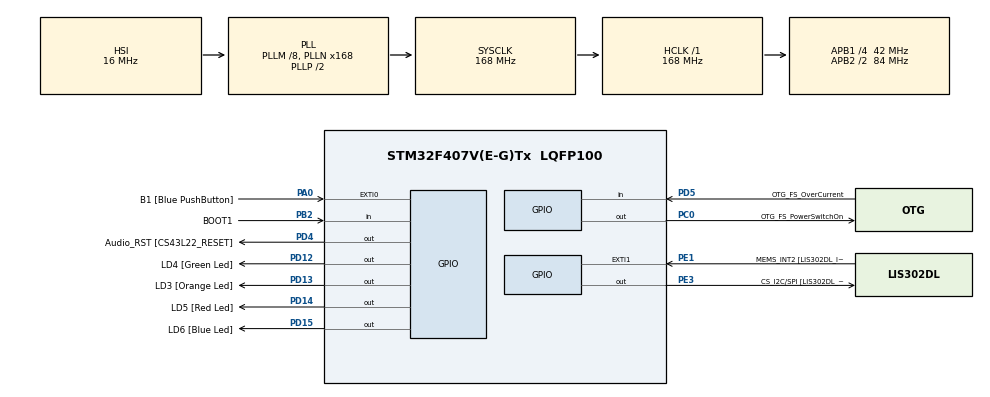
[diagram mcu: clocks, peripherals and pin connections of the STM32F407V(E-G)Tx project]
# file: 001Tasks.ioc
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Mcu.Family=STM32F4
Mcu.Name=STM32F407V(E-G)Tx
Mcu.Package=LQFP100
NVIC.PriorityGroup=NVIC_PRIORITYGROUP_4
NVIC.TIM6_DAC_IRQn=true\:0\:0\:false\:false\:true\:false\:true\:true
NVIC.TimeBase=TIM6_DAC_IRQn
NVIC.TimeBaseIP=TIM6
PA0-WKUP.GPIO_Label=B1 [Blue PushButton]
PA0-WKUP.Signal=GPXTI0
PA10.GPIO_Label=OTG_FS_ID
PA10.GPIO_Mode=GPIO_MODE_AF_PP
PA10.GPIO_PuPd=GPIO_NOPULL
PA10.GPIO_Speed=GPIO_SPEED_FREQ_LOW
PA10.Signal=USB_OTG_FS_ID
PA11.GPIO_Label=OTG_FS_DM
PA11.GPIO_Mode=GPIO_MODE_AF_PP
PA11.GPIO_PuPd=GPIO_NOPULL
PA11.GPIO_Speed=GPIO_SPEED_FREQ_LOW
PA11.Signal=USB_OTG_FS_DM
PA12.GPIO_Label=OTG_FS_DP
PA12.GPIO_Mode=GPIO_MODE_AF_PP
PA12.GPIO_PuPd=GPIO_NOPULL
PA12.GPIO_Speed=GPIO_SPEED_FREQ_LOW
PA12.Signal=USB_OTG_FS_DP
PA13.GPIO_Label=SWDIO
PA13.Signal=SYS_JTMS-SWDIO
PA14.GPIO_Label=SWCLK
PA14.Signal=SYS_JTCK-SWCLK
PA4.GPIO_Label=I2S3_WS [CS43L22_LRCK]
PA4.GPIO_Mode=GPIO_MODE_AF_PP
PA4.GPIO_PuPd=GPIO_NOPULL
PA4.GPIO_Speed=GPIO_SPEED_FREQ_LOW
PA4.Signal=I2S3_WS
PA5.GPIO_Label=SPI1_SCK [LIS302DL_SCL/SPC]
PA5.GPIO_Mode=GPIO_MODE_AF_PP
PA5.GPIO_PuPd=GPIO_NOPULL
PA5.GPIO_Speed=GPIO_SPEED_FREQ_LOW
PA5.Signal=SPI1_SCK
PA6.GPIO_Label=SPI1_MISO [LIS302DL_SDO]
PA6.GPIO_Mode=GPIO_MODE_AF_PP
PA6.GPIO_PuPd=GPIO_NOPULL
PA6.GPIO_Speed=GPIO_SPEED_FREQ_LOW
PA6.Signal=SPI1_MISO
PA7.GPIO_Label=SPI1_MOSI [LIS302DL_SDA/SDI/SDO]
PA7.GPIO_Mode=GPIO_MODE_AF_PP
PA7.GPIO_PuPd=GPIO_NOPULL
PA7.GPIO_Speed=GPIO_SPEED_FREQ_LOW
PA7.Signal=SPI1_MOSI
PA9.GPIO_Label=VBUS_FS
PA9.GPIO_Mode=GPIO_MODE_INPUT
PA9.GPIO_PuPd=GPIO_NOPULL
PA9.Signal=USB_OTG_FS_VBUS
PB10.GPIO_Label=CLK_IN [MP45DT02_CLK]
PB10.GPIO_Mode=GPIO_MODE_AF_PP
PB10.GPIO_PuPd=GPIO_NOPULL
PB10.GPIO_Speed=GPIO_SPEED_FREQ_LOW
PB10.Signal=I2S2_CK
PB2.GPIO_Label=BOOT1
PB2.GPIO_Mode=GPIO_MODE_INPUT
PB2.GPIO_PuPd=GPIO_NOPULL
PB2.Signal=GPIO_Input
PB3.GPIO_Label=SWO
PB3.Signal=SYS_JTDO-SWO
PB6.GPIO_Label=Audio_SCL [CS43L22_SCL]
PB6.GPIO_Mode=GPIO_MODE_AF_OD
PB6.GPIO_PuPd=GPIO_NOPULL
PB6.GPIO_Speed=GPIO_SPEED_FREQ_LOW
PB6.Signal=I2C1_SCL
PB9.GPIO_Label=Audio_SDA [CS43L22_SDA]
PB9.GPIO_Mode=GPIO_MODE_AF_OD
PB9.GPIO_PuPd=GPIO_NOPULL
PB9.GPIO_Speed=GPIO_SPEED_FREQ_LOW
PB9.Signal=I2C1_SDA
PC0.GPIO_Label=OTG_FS_PowerSwitchOn
PC0.GPIO_PuPd=GPIO_NOPULL
PC0.GPIO_Speed=GPIO_SPEED_FREQ_LOW
PC0.PinState=GPIO_PIN_SET
PC0.Signal=GPIO_Output
PC10.GPIO_Label=I2S3_SCK [CS43L22_SCLK]
PC10.GPIO_Mode=GPIO_MODE_AF_PP
PC10.GPIO_PuPd=GPIO_NOPULL
PC10.GPIO_Speed=GPIO_SPEED_FREQ_LOW
PC10.Signal=I2S3_CK
PC12.GPIO_Label=I2S3_SD [CS43L22_SDIN]
PC12.GPIO_Mode=GPIO_MODE_AF_PP
PC12.GPIO_PuPd=GPIO_NOPULL
PC12.GPIO_Speed=GPIO_SPEED_FREQ_LOW
PC12.Signal=I2S3_SD
PC14-OSC32_IN.GPIO_Label=PC14-OSC32_IN
PC14-OSC32_IN.Signal=RCC_OSC32_IN
PC15-OSC32_OUT.GPIO_Label=PC15-OSC32_OUT
PC15-OSC32_OUT.Signal=RCC_OSC32_OUT
PC3.GPIO_Label=PDM_OUT [MP45DT02_DOUT]
PC3.GPIO_Mode=GPIO_MODE_AF_PP
PC3.GPIO_PuPd=GPIO_NOPULL
PC3.GPIO_Speed=GPIO_SPEED_FREQ_LOW
PC3.Signal=I2S2_SD
PC7.GPIO_Label=I2S3_MCK [CS43L22_MCLK]
PC7.GPIO_Mode=GPIO_MODE_AF_PP
PC7.GPIO_PuPd=GPIO_NOPULL
PC7.GPIO_Speed=GPIO_SPEED_FREQ_LOW
PC7.Signal=I2S3_MCK
PD12.GPIO_Label=LD4 [Green Led]
PD12.GPIO_PuPd=GPIO_NOPULL
PD12.GPIO_Speed=GPIO_SPEED_FREQ_LOW
PD12.Signal=GPIO_Output
PD13.GPIO_Label=LD3 [Orange Led]
PD13.GPIO_PuPd=GPIO_NOPULL
PD13.GPIO_Speed=GPIO_SPEED_FREQ_LOW
PD13.Signal=GPIO_Output
PD14.GPIO_Label=LD5 [Red Led]
PD14.GPIO_PuPd=GPIO_NOPULL
PD14.GPIO_Speed=GPIO_SPEED_FREQ_LOW
PD14.Signal=GPIO_Output
PD15.GPIO_Label=LD6 [Blue Led]
PD15.GPIO_PuPd=GPIO_NOPULL
PD15.GPIO_Speed=GPIO_SPEED_FREQ_LOW
PD15.Signal=GPIO_Output
PD4.GPIO_Label=Audio_RST [CS43L22_RESET]
PD4.GPIO_PuPd=GPIO_NOPULL
PD4.GPIO_Speed=GPIO_SPEED_FREQ_LOW
PD4.Signal=GPIO_Output
PD5.GPIO_Label=OTG_FS_OverCurrent
PD5.GPIO_Mode=GPIO_MODE_INPUT
PD5.GPIO_PuPd=GPIO_NOPULL
PD5.Signal=GPIO_Input
PE1.GPIO_Label=MEMS_INT2 [LIS302DL_INT2]
PE1.GPIO_ModeDefaultEXTI=GPIO_MODE_EVT_RISING
PE1.GPIO_PuPd=GPIO_NOPULL
PE1.Signal=GPXTI1
PE3.GPIO_Label=CS_I2C/SPI [LIS302DL_CS_I2C/SPI]
PE3.GPIO_PuPd=GPIO_NOPULL
PE3.GPIO_Speed=GPIO_SPEED_FREQ_LOW
PE3.Signal=GPIO_Output
PH0-OSC_IN.GPIO_Label=PH0-OSC_IN
PH0-OSC_IN.Signal=RCC_OSC_IN
PH1-OSC_OUT.GPIO_Label=PH1-OSC_OUT
PH1-OSC_OUT.Signal=RCC_OSC_OUT
ProjectManager.HeapSize=0x200
ProjectManager.StackSize=0x400
ProjectManager.TargetToolchain=STM32CubeIDE
RCC.48MHZClocksFreq_Value=48000000
RCC.AHBFreq_Value=168000000
RCC.APB1CLKDivider=RCC_HCLK_DIV4
RCC.APB1Freq_Value=42000000
RCC.APB1TimFreq_Value=84000000
RCC.APB2CLKDivider=RCC_HCLK_DIV2
RCC.APB2Freq_Value=84000000
RCC.APB2TimFreq_Value=168000000
RCC.CortexFreq_Value=168000000
RCC.HCLKFreq_Value=168000000
RCC.HSE_VALUE=8000000
RCC.HSI_VALUE=16000000
RCC.LSE_VALUE=32768
RCC.PLLM=8
RCC.PLLN=168
RCC.PLLQ=7
RCC.SYSCLKFreq_VALUE=168000000
RCC.SYSCLKSource=RCC_SYSCLKSOURCE_PLLCLK
RCC.VCOOutputFreq_Value=336000000
VP_SYS_VS_tim6.Mode=TIM6
board=STM32F407G-DISC1

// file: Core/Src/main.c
/* USER CODE BEGIN Header */
/**
  ******************************************************************************
  * @file           : main.c
  * @brief          : Main program body
  ******************************************************************************
  * @attention
  *
  * Copyright (c) 2023 STMicroelectronics.
  * All rights reserved.
  *
  * This software is licensed under terms that can be found in the LICENSE file
  * in the root directory of this software component.
  * If no LICENSE file comes with this software, it is provided AS-IS.
  *
  ******************************************************************************
  */
/* USER CODE END Header */
#include "main.h"

/* USER CODE BEGIN Includes */
#include <stdio.h>
#include "FreeRTOS.h"
#include "task.h"
/* USER CODE END Includes */

/* USER CODE BEGIN PV */

#define DWT_CTRL	(*(volatile uint32_t *)0xE0001000)

/* USER CODE END PV */

void SystemClock_Config(void);
static void MX_GPIO_Init(void);
/* USER CODE BEGIN PFP */
static void task1_handler(void *parameters);
static void task2_handler(void *parameters);
/* USER CODE END PFP */

int main(void)
{
  /* USER CODE BEGIN 1 */
	TaskHandle_t task1_handle;
	TaskHandle_t task2_handle;
	BaseType_t status;
  /* USER CODE END 1 */

  /* MCU Configuration--------------------------------------------------------*/

  /* Reset of all peripherals, Initializes the Flash interface and the Systick. */
  HAL_Init();

  /* Configure the system clock */
  SystemClock_Config();

  /* Initialize all configured peripherals */
  MX_GPIO_Init();
  /* USER CODE BEGIN 2 */

  /* Enable Cycle counter */
  DWT_CTRL |= (1 << 0);

  SEGGER_UART_init(500000);

  SEGGER_SYSVIEW_Conf();

  status = xTaskCreate(task1_handler, "Task-1", 200, "Hello world from Task-1", 2, task1_handle);
  configASSERT(status == pdPASS);

  status = xTaskCreate(task2_handler, "Task-2", 200, "Hello world from Task-2", 2, task2_handle);
  configASSERT(status == pdPASS);

  /*Start the FreeRTOS scheduler*/
  vTaskStartScheduler();

  // If the control comes here, then the launch of the scheduler has failed due to insufficient memory in heap

  /* USER CODE END 2 */

  /* Infinite loop */
  while (1)
  {

  }
}

void SystemClock_Config(void)
{
  RCC_OscInitTypeDef RCC_OscInitStruct = {0};
  RCC_ClkInitTypeDef RCC_ClkInitStruct = {0};

  /** Configure the main internal regulator output voltage
  */
  __HAL_RCC_PWR_CLK_ENABLE();
  __HAL_PWR_VOLTAGESCALING_CONFIG(PWR_REGULATOR_VOLTAGE_SCALE1);

  /** Initializes the RCC Oscillators according to the specified parameters
  * in the RCC_OscInitTypeDef structure.
  */
  RCC_OscInitStruct.OscillatorType = RCC_OSCILLATORTYPE_HSI;
  RCC_OscInitStruct.HSIState = RCC_HSI_ON;
  RCC_OscInitStruct.HSICalibrationValue = RCC_HSICALIBRATION_DEFAULT;
  RCC_OscInitStruct.PLL.PLLState = RCC_PLL_ON;
  RCC_OscInitStruct.PLL.PLLSource = RCC_PLLSOURCE_HSI;
  RCC_OscInitStruct.PLL.PLLM = 8;
  RCC_OscInitStruct.PLL.PLLN = 168;
  RCC_OscInitStruct.PLL.PLLP = RCC_PLLP_DIV2;
  RCC_OscInitStruct.PLL.PLLQ = 7;
  if (HAL_RCC_OscConfig(&RCC_OscInitStruct) != HAL_OK)
  {
    Error_Handler();
  }

  /** Initializes the CPU, AHB and APB buses clocks
  */
  RCC_ClkInitStruct.ClockType = RCC_CLOCKTYPE_HCLK|RCC_CLOCKTYPE_SYSCLK
                              |RCC_CLOCKTYPE_PCLK1|RCC_CLOCKTYPE_PCLK2;
  RCC_ClkInitStruct.SYSCLKSource = RCC_SYSCLKSOURCE_PLLCLK;
  RCC_ClkInitStruct.AHBCLKDivider = RCC_SYSCLK_DIV1;
  RCC_ClkInitStruct.APB1CLKDivider = RCC_HCLK_DIV4;
  RCC_ClkInitStruct.APB2CLKDivider = RCC_HCLK_DIV2;

  if (HAL_RCC_ClockConfig(&RCC_ClkInitStruct, FLASH_LATENCY_5) != HAL_OK)
  {
    Error_Handler();
  }
}

static void MX_GPIO_Init(void)
{
  GPIO_InitTypeDef GPIO_InitStruct = {0};

  /* GPIO Ports Clock Enable */
  __HAL_RCC_GPIOE_CLK_ENABLE();
  __HAL_RCC_GPIOC_CLK_ENABLE();
  __HAL_RCC_GPIOH_CLK_ENABLE();
  __HAL_RCC_GPIOA_CLK_ENABLE();
  __HAL_RCC_GPIOB_CLK_ENABLE();
  __HAL_RCC_GPIOD_CLK_ENABLE();

  /*Configure GPIO pin Output Level */
  HAL_GPIO_WritePin(CS_I2C_SPI_GPIO_Port, CS_I2C_SPI_Pin, GPIO_PIN_RESET);

  /*Configure GPIO pin Output Level */
  HAL_GPIO_WritePin(OTG_FS_PowerSwitchOn_GPIO_Port, OTG_FS_PowerSwitchOn_Pin, GPIO_PIN_SET);

  /*Configure GPIO pin Output Level */
  HAL_GPIO_WritePin(GPIOD, LD4_Pin|LD3_Pin|LD5_Pin|LD6_Pin
                          |Audio_RST_Pin, GPIO_PIN_RESET);

  /*Configure GPIO pin : CS_I2C_SPI_Pin */
  GPIO_InitStruct.Pin = CS_I2C_SPI_Pin;
  GPIO_InitStruct.Mode = GPIO_MODE_OUTPUT_PP;
  GPIO_InitStruct.Pull = GPIO_NOPULL;
  GPIO_InitStruct.Speed = GPIO_SPEED_FREQ_LOW;
  HAL_GPIO_Init(CS_I2C_SPI_GPIO_Port, &GPIO_InitStruct);

  /*Configure GPIO pin : OTG_FS_PowerSwitchOn_Pin */
  GPIO_InitStruct.Pin = OTG_FS_PowerSwitchOn_Pin;
  GPIO_InitStruct.Mode = GPIO_MODE_OUTPUT_PP;
  GPIO_InitStruct.Pull = GPIO_NOPULL;
  GPIO_InitStruct.Speed = GPIO_SPEED_FREQ_LOW;
  HAL_GPIO_Init(OTG_FS_PowerSwitchOn_GPIO_Port, &GPIO_InitStruct);

  /*Configure GPIO pin : PDM_OUT_Pin */
  GPIO_InitStruct.Pin = PDM_OUT_Pin;
  GPIO_InitStruct.Mode = GPIO_MODE_AF_PP;
  GPIO_InitStruct.Pull = GPIO_NOPULL;
  GPIO_InitStruct.Speed = GPIO_SPEED_FREQ_LOW;
  GPIO_InitStruct.Alternate = GPIO_AF5_SPI2;
  HAL_GPIO_Init(PDM_OUT_GPIO_Port, &GPIO_InitStruct);

  /*Configure GPIO pin : B1_Pin */
  GPIO_InitStruct.Pin = B1_Pin;
  GPIO_InitStruct.Mode = GPIO_MODE_IT_RISING;
  GPIO_InitStruct.Pull = GPIO_NOPULL;
  HAL_GPIO_Init(B1_GPIO_Port, &GPIO_InitStruct);

  /*Configure GPIO pin : I2S3_WS_Pin */
  GPIO_InitStruct.Pin = I2S3_WS_Pin;
  GPIO_InitStruct.Mode = GPIO_MODE_AF_PP;
  GPIO_InitStruct.Pull = GPIO_NOPULL;
  GPIO_InitStruct.Speed = GPIO_SPEED_FREQ_LOW;
  GPIO_InitStruct.Alternate = GPIO_AF6_SPI3;
  HAL_GPIO_Init(I2S3_WS_GPIO_Port, &GPIO_InitStruct);

  /*Configure GPIO pins : SPI1_SCK_Pin SPI1_MISO_Pin SPI1_MOSI_Pin */
  GPIO_InitStruct.Pin = SPI1_SCK_Pin|SPI1_MISO_Pin|SPI1_MOSI_Pin;
  GPIO_InitStruct.Mode = GPIO_MODE_AF_PP;
  GPIO_InitStruct.Pull = GPIO_NOPULL;
  GPIO_InitStruct.Speed = GPIO_SPEED_FREQ_LOW;
  GPIO_InitStruct.Alternate = GPIO_AF5_SPI1;
  HAL_GPIO_Init(GPIOA, &GPIO_InitStruct);

  /*Configure GPIO pin : BOOT1_Pin */
  GPIO_InitStruct.Pin = BOOT1_Pin;
  GPIO_InitStruct.Mode = GPIO_MODE_INPUT;
  GPIO_InitStruct.Pull = GPIO_NOPULL;
  HAL_GPIO_Init(BOOT1_GPIO_Port, &GPIO_InitStruct);

  /*Configure GPIO pin : CLK_IN_Pin */
  GPIO_InitStruct.Pin = CLK_IN_Pin;
  GPIO_InitStruct.Mode = GPIO_MODE_AF_PP;
  GPIO_InitStruct.Pull = GPIO_NOPULL;
  GPIO_InitStruct.Speed = GPIO_SPEED_FREQ_LOW;
  GPIO_InitStruct.Alternate = GPIO_AF5_SPI2;
  HAL_GPIO_Init(CLK_IN_GPIO_Port, &GPIO_InitStruct);

  /*Configure GPIO pins : LD4_Pin LD3_Pin LD5_Pin LD6_Pin
                           Audio_RST_Pin */
  GPIO_InitStruct.Pin = LD4_Pin|LD3_Pin|LD5_Pin|LD6_Pin
                          |Audio_RST_Pin;
  GPIO_InitStruct.Mode = GPIO_MODE_OUTPUT_PP;
  GPIO_InitStruct.Pull = GPIO_NOPULL;
  GPIO_InitStruct.Speed = GPIO_SPEED_FREQ_LOW;
  HAL_GPIO_Init(GPIOD, &GPIO_InitStruct);

  /*Configure GPIO pins : I2S3_MCK_Pin I2S3_SCK_Pin I2S3_SD_Pin */
  GPIO_InitStruct.Pin = I2S3_MCK_Pin|I2S3_SCK_Pin|I2S3_SD_Pin;
  GPIO_InitStruct.Mode = GPIO_MODE_AF_PP;
  GPIO_InitStruct.Pull = GPIO_NOPULL;
  GPIO_InitStruct.Speed = GPIO_SPEED_FREQ_LOW;
  GPIO_InitStruct.Alternate = GPIO_AF6_SPI3;
  HAL_GPIO_Init(GPIOC, &GPIO_InitStruct);

  /*Configure GPIO pin : VBUS_FS_Pin */
  GPIO_InitStruct.Pin = VBUS_FS_Pin;
  GPIO_InitStruct.Mode = GPIO_MODE_INPUT;
  GPIO_InitStruct.Pull = GPIO_NOPULL;
  HAL_GPIO_Init(VBUS_FS_GPIO_Port, &GPIO_InitStruct);

  /*Configure GPIO pins : OTG_FS_ID_Pin OTG_FS_DM_Pin OTG_FS_DP_Pin */
  GPIO_InitStruct.Pin = OTG_FS_ID_Pin|OTG_FS_DM_Pin|OTG_FS_DP_Pin;
  GPIO_InitStruct.Mode = GPIO_MODE_AF_PP;
  GPIO_InitStruct.Pull = GPIO_NOPULL;
  GPIO_InitStruct.Speed = GPIO_SPEED_FREQ_LOW;
  GPIO_InitStruct.Alternate = GPIO_AF10_OTG_FS;
  HAL_GPIO_Init(GPIOA, &GPIO_InitStruct);

  /*Configure GPIO pin : OTG_FS_OverCurrent_Pin */
  GPIO_InitStruct.Pin = OTG_FS_OverCurrent_Pin;
  GPIO_InitStruct.Mode = GPIO_MODE_INPUT;
  GPIO_InitStruct.Pull = GPIO_NOPULL;
  HAL_GPIO_Init(OTG_FS_OverCurrent_GPIO_Port, &GPIO_InitStruct);

  /*Configure GPIO pins : Audio_SCL_Pin Audio_SDA_Pin */
  GPIO_InitStruct.Pin = Audio_SCL_Pin|Audio_SDA_Pin;
  GPIO_InitStruct.Mode = GPIO_MODE_AF_OD;
  GPIO_InitStruct.Pull = GPIO_NOPULL;
  GPIO_InitStruct.Speed = GPIO_SPEED_FREQ_LOW;
  GPIO_InitStruct.Alternate = GPIO_AF4_I2C1;
  HAL_GPIO_Init(GPIOB, &GPIO_InitStruct);

  /*Configure GPIO pin : MEMS_INT2_Pin */
  GPIO_InitStruct.Pin = MEMS_INT2_Pin;
  GPIO_InitStruct.Mode = GPIO_MODE_EVT_RISING;
  GPIO_InitStruct.Pull = GPIO_NOPULL;
  HAL_GPIO_Init(MEMS_INT2_GPIO_Port, &GPIO_InitStruct);

}

/* USER CODE BEGIN 4 */

static void task1_handler(void *parameters)
{
	char msg[100];
	while(1)
	{
		//printf("%s\n", (char *)parameters);
		snprintf(msg, 100, "%s\n", (char *)parameters);
		SEGGER_SYSVIEW_PrintfTarget(msg);
		taskYIELD();
	}
}

static void task2_handler(void *parameters)
{
	char msg[100];
	while(1)
	{
		//printf("%s\n", (char *)parameters);
		snprintf(msg, 100, "%s\n", (char *)parameters);
		SEGGER_SYSVIEW_PrintfTarget(msg);
		taskYIELD();
	}
}
/* USER CODE END 4 */

void HAL_TIM_PeriodElapsedCallback(TIM_HandleTypeDef *htim)
{
  if (htim->Instance == TIM6) {
    HAL_IncTick();
  }
}

void Error_Handler(void)
{
  __disable_irq();
  while (1)
  {
  }
}
